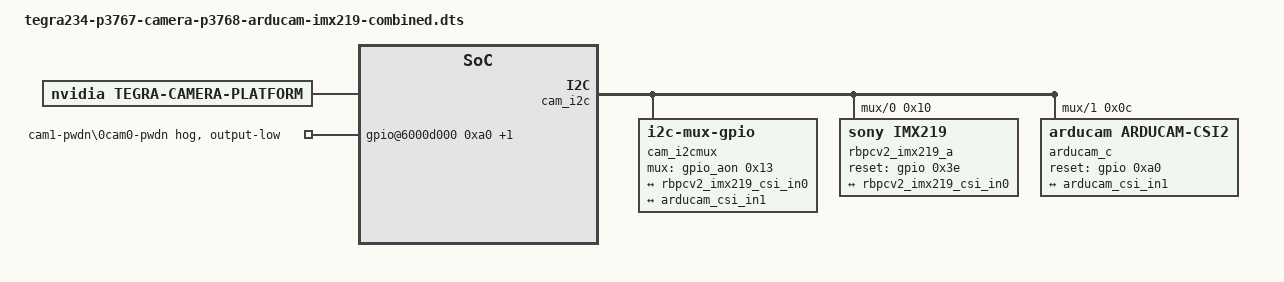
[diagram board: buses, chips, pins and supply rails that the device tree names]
// SPDX-License-Identifier: GPL-2.0-only
// Combined camera overlay: AR0234 (4-lane, CAM1/port C) + IMX219 (2-lane, CAM0/port B)
// For Jetson Orin Nano - p3768 carrier + p3767 module
//
// AR0234 on i2c@1 / CSI port C (serial_c, port-index 2) - 4 lanes
// IMX219 on i2c@0 / CSI port B (serial_b, port-index 1) - 2 lanes

/dts-v1/;
/plugin/;

/ {
	overlay-name = "Camera AR0234 + IMX219 Combined";
	jetson-header-name = "Jetson 24pin CSI Connector";
	compatible = "nvidia,p3768-0000+p3767-0000", "nvidia,p3768-0000+p3767-0001",
		     "nvidia,p3768-0000+p3767-0003", "nvidia,p3768-0000+p3767-0004",
		     "nvidia,p3768-0000+p3767-0005",
		     "nvidia,p3768-0000+p3767-0000-super", "nvidia,p3768-0000+p3767-0001-super",
		     "nvidia,p3768-0000+p3767-0003-super", "nvidia,p3768-0000+p3767-0004-super",
		     "nvidia,p3768-0000+p3767-0005-super";

	fragment@0 {
		target-path = "/";

		__overlay__ {

			tegra-capture-vi {
				num-channels = <2>;

				ports {
					#address-cells = <1>;
					#size-cells = <0>;

					/* IMX219 on CSI port B (2-lane) */
					port@0 {
						reg = <0>;

						rbpcv2_imx219_vi_in0: endpoint {
							port-index = <1>;
							bus-width = <2>;
							remote-endpoint = <&rbpcv2_imx219_csi_out0>;
						};
					};

					/* AR0234 on CSI port C (4-lane) */
					port@1 {
						reg = <1>;

						arducam_vi_in1: endpoint {
							port-index = <2>;
							bus-width = <4>;
							remote-endpoint = <&arducam_csi_out1>;
						};
					};
				};
			};

			tegra-camera-platform {
				compatible = "nvidia, tegra-camera-platform";
				num_csi_lanes = <6>;
				max_lane_speed = <1500000>;
				min_bits_per_pixel = <10>;
				vi_peak_byte_per_pixel = <2>;
				vi_bw_margin_pct = <25>;
				max_pixel_rate = <7500000>;
				isp_peak_byte_per_pixel = <5>;
				isp_bw_margin_pct = <25>;

				modules {

					module0 {
						badge = "jakku_front_RBP194";
						position = "front";
						orientation = "1";

						drivernode0 {
							pcl_id = "v4l2_sensor";
							sysfs-device-tree = "/sys/firmware/devicetree/base/bus@0/cam_i2cmux/i2c@0/rbpcv2_imx219_a@10";
						};

						drivernode1 {
							pcl_id = "v4l2_lens";
							sysfs-device-tree = "/sys/firmware/devicetree/base/bus@0/lens_imx219@RBPCV2";
						};
					};

					module1 {
						badge = "jakku_rear_arducam";
						position = "rear";
						orientation = "1";

						drivernode0 {
							pcl_id = "v4l2_sensor";
							sysfs-device-tree = "/sys/firmware/devicetree/base/bus@0/cam_i2cmux/i2c@1/arducam_c@0c";
						};
					};
				};
			};

			bus@0 {

				host1x@13e00000 {

					nvcsi@15a00000 {
						num-channels = <2>;
						#address-cells = <1>;
						#size-cells = <0>;

						/* Channel 0: IMX219 on CSI port B, 2-lane */
						channel@0 {
							reg = <0>;

							ports {
								#address-cells = <1>;
								#size-cells = <0>;

								port@0 {
									reg = <0>;

									rbpcv2_imx219_csi_in0: endpoint@0 {
										port-index = <1>;
										bus-width = <2>;
										remote-endpoint = <&rbpcv2_imx219_out0>;
									};
								};

								port@1 {
									reg = <1>;

									rbpcv2_imx219_csi_out0: endpoint@1 {
										remote-endpoint = <&rbpcv2_imx219_vi_in0>;
									};
								};
							};
						};

						/* Channel 1: AR0234 on CSI port C, 4-lane */
						channel@1 {
							reg = <1>;

							ports {
								#address-cells = <1>;
								#size-cells = <0>;

								port@0 {
									reg = <0>;

									arducam_csi_in1: endpoint@2 {
										port-index = <2>;
										bus-width = <4>;
										remote-endpoint = <&arducam_out1>;
									};
								};

								port@1 {
									reg = <1>;

									arducam_csi_out1: endpoint@3 {
										remote-endpoint = <&arducam_vi_in1>;
									};
								};
							};
						};
					};
				};

				cam_i2cmux {
					status = "okay";
					compatible = "i2c-mux-gpio";
					#address-cells = <1>;
					#size-cells = <0>;
					mux-gpios = <&gpio_aon 0x13 0x00>;
					i2c-parent = <&cam_i2c>;

					i2c@0 {
						status = "okay";
						reg = <0>;
						#address-cells = <1>;
						#size-cells = <0>;

						rbpcv2_imx219_a@10 {
							reset-gpios = <&gpio 0x3e 0x00>;
							compatible = "sony,imx219";
							reg = <0x10>;
							devnode = "video0";
							physical_w = "3.680";
							physical_h = "2.760";
							sensor_model = "imx219";
							use_sensor_mode_id = "true";

							mode0 {
								mclk_khz = "24000";
								num_lanes = "2";
								tegra_sinterface = "serial_b";
								lane_polarity = "6";
								phy_mode = "DPHY";
								discontinuous_clk = "yes";
								dpcm_enable = "false";
								cil_settletime = "0";
								active_w = "3280";
								active_h = "2464";
								mode_type = "bayer";
								pixel_phase = "rggb";
								csi_pixel_bit_depth = "10";
								readout_orientation = "90";
								line_length = "3448";
								inherent_gain = "1";
								mclk_multiplier = "9.33";
								pix_clk_hz = "182400000";
								gain_factor = "16";
								framerate_factor = "1000000";
								exposure_factor = "1000000";
								min_gain_val = "16";
								max_gain_val = "170";
								step_gain_val = "1";
								default_gain = "16";
								min_hdr_ratio = "1";
								max_hdr_ratio = "1";
								min_framerate = "2000000";
								max_framerate = "21000000";
								step_framerate = "1";
								default_framerate = "21000000";
								min_exp_time = "13";
								max_exp_time = "683709";
								step_exp_time = "1";
								default_exp_time = "2495";
								embedded_metadata_height = "2";
							};

							mode1 {
								mclk_khz = "24000";
								num_lanes = "2";
								tegra_sinterface = "serial_b";
								lane_polarity = "6";
								phy_mode = "DPHY";
								discontinuous_clk = "yes";
								dpcm_enable = "false";
								cil_settletime = "0";
								active_w = "3280";
								active_h = "1848";
								mode_type = "bayer";
								pixel_phase = "rggb";
								csi_pixel_bit_depth = "10";
								readout_orientation = "90";
								line_length = "3448";
								inherent_gain = "1";
								mclk_multiplier = "9.33";
								pix_clk_hz = "182400000";
								gain_factor = "16";
								framerate_factor = "1000000";
								exposure_factor = "1000000";
								min_gain_val = "16";
								max_gain_val = "170";
								step_gain_val = "1";
								default_gain = "16";
								min_hdr_ratio = "1";
								max_hdr_ratio = "1";
								min_framerate = "2000000";
								max_framerate = "28000000";
								step_framerate = "1";
								default_framerate = "28000000";
								min_exp_time = "13";
								max_exp_time = "683709";
								step_exp_time = "1";
								default_exp_time = "2495";
								embedded_metadata_height = "2";
							};

							mode2 {
								mclk_khz = "24000";
								num_lanes = "2";
								tegra_sinterface = "serial_b";
								lane_polarity = "6";
								phy_mode = "DPHY";
								discontinuous_clk = "yes";
								dpcm_enable = "false";
								cil_settletime = "0";
								active_w = "1920";
								active_h = "1080";
								mode_type = "bayer";
								pixel_phase = "rggb";
								csi_pixel_bit_depth = "10";
								readout_orientation = "90";
								line_length = "3448";
								inherent_gain = "1";
								mclk_multiplier = "9.33";
								pix_clk_hz = "182400000";
								gain_factor = "16";
								framerate_factor = "1000000";
								exposure_factor = "1000000";
								min_gain_val = "16";
								max_gain_val = "170";
								step_gain_val = "1";
								default_gain = "16";
								min_hdr_ratio = "1";
								max_hdr_ratio = "1";
								min_framerate = "2000000";
								max_framerate = "30000000";
								step_framerate = "1";
								default_framerate = "30000000";
								min_exp_time = "13";
								max_exp_time = "683709";
								step_exp_time = "1";
								default_exp_time = "2495";
								embedded_metadata_height = "2";
							};

							mode3 {
								mclk_khz = "24000";
								num_lanes = "2";
								tegra_sinterface = "serial_b";
								lane_polarity = "6";
								phy_mode = "DPHY";
								discontinuous_clk = "yes";
								dpcm_enable = "false";
								cil_settletime = "0";
								active_w = "1640";
								active_h = "1232";
								mode_type = "bayer";
								pixel_phase = "rggb";
								csi_pixel_bit_depth = "10";
								readout_orientation = "90";
								line_length = "3448";
								inherent_gain = "1";
								mclk_multiplier = "9.33";
								pix_clk_hz = "182400000";
								gain_factor = "16";
								framerate_factor = "1000000";
								exposure_factor = "1000000";
								min_gain_val = "16";
								max_gain_val = "170";
								step_gain_val = "1";
								default_gain = "16";
								min_hdr_ratio = "1";
								max_hdr_ratio = "1";
								min_framerate = "2000000";
								max_framerate = "30000000";
								step_framerate = "1";
								default_framerate = "30000000";
								min_exp_time = "13";
								max_exp_time = "683709";
								step_exp_time = "1";
								default_exp_time = "2495";
								embedded_metadata_height = "2";
							};

							mode4 {
								mclk_khz = "24000";
								num_lanes = "2";
								tegra_sinterface = "serial_b";
								lane_polarity = "6";
								phy_mode = "DPHY";
								discontinuous_clk = "yes";
								dpcm_enable = "false";
								cil_settletime = "0";
								active_w = "1280";
								active_h = "720";
								mode_type = "bayer";
								pixel_phase = "rggb";
								csi_pixel_bit_depth = "10";
								readout_orientation = "90";
								line_length = "3448";
								inherent_gain = "1";
								mclk_multiplier = "9.33";
								pix_clk_hz = "182400000";
								gain_factor = "16";
								framerate_factor = "1000000";
								exposure_factor = "1000000";
								min_gain_val = "16";
								max_gain_val = "170";
								step_gain_val = "1";
								default_gain = "16";
								min_hdr_ratio = "1";
								max_hdr_ratio = "1";
								min_framerate = "2000000";
								max_framerate = "60000000";
								step_framerate = "1";
								default_framerate = "60000000";
								min_exp_time = "13";
								max_exp_time = "683709";
								step_exp_time = "1";
								default_exp_time = "2495";
								embedded_metadata_height = "2";
							};

							ports {
								#address-cells = <1>;
								#size-cells = <0>;

								port@0 {
									reg = <0>;

									rbpcv2_imx219_out0: endpoint {
										status = "okay";
										port-index = <1>;
										bus-width = <2>;
										remote-endpoint = <&rbpcv2_imx219_csi_in0>;
									};
								};
							};
						};
					};

					i2c@1 {
						status = "okay";
						reg = <1>;
						#address-cells = <1>;
						#size-cells = <0>;

						rbpcv2_imx219_c@10 {
							status = "disabled";
						};

						arducam_c@0c {
							reset-gpios = <&gpio 0xa0 0x00>;
							compatible = "arducam,arducam-csi2";
							reg = <0x0c>;
							devnode = "video1";
							physical_w = "5.760";
							physical_h = "3.600";
							sensor_model = "arducam-csi2";
							use_sensor_mode_id = "true";

							mode0 {
								mclk_khz = "24000";
								num_lanes = "4";
								tegra_sinterface = "serial_c";
								phy_mode = "DPHY";
								discontinuous_clk = "yes";
								dpcm_enable = "false";
								cil_settletime = "0";
								lane_polarity = "0";
								active_w = "3840";
								active_h = "1200";
								mode_type = "bayer";
								pixel_phase = "grbg";
								csi_pixel_bit_depth = "10";
								readout_orientation = "0";
								line_length = "4400";
								inherent_gain = "1";
								mclk_multiplier = "6.67";
								pix_clk_hz = "154000000";
								gain_factor = "16";
								framerate_factor = "1000000";
								exposure_factor = "1000000";
								min_gain_val = "16";
								max_gain_val = "170";
								step_gain_val = "1";
								default_gain = "16";
								min_hdr_ratio = "1";
								max_hdr_ratio = "1";
								min_framerate = "2000000";
								max_framerate = "30000000";
								step_framerate = "1";
								default_framerate = "30000000";
								min_exp_time = "13";
								max_exp_time = "683709";
								step_exp_time = "1";
								default_exp_time = "2495";
								embedded_metadata_height = "0";
							};

							ports {
								#address-cells = <1>;
								#size-cells = <0>;

								port@0 {
									reg = <0>;

									arducam_out1: endpoint {
										status = "okay";
										port-index = <2>;
										bus-width = <4>;
										remote-endpoint = <&arducam_csi_in1>;
									};
								};
							};
						};
					};
				};

				lens_imx219@RBPCV2 {
					min_focus_distance = "0.0";
					hyper_focal = "0.0";
					focal_length = "3.04";
					f_number = "2.0";
					aperture = "0.0";
				};

				gpio@6000d000 {

					camera-control-output-low {
						gpio-hog;
						output-low;
						gpios = <0xa0 0x00 0x3e 0x00>;
						label = "cam1-pwdn\0cam0-pwdn";
					};
				};
			};
		};
	};
};
